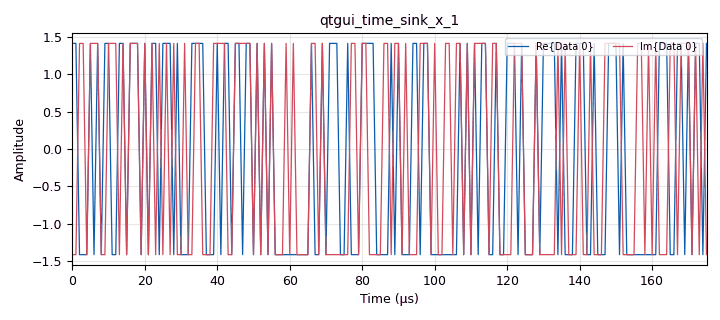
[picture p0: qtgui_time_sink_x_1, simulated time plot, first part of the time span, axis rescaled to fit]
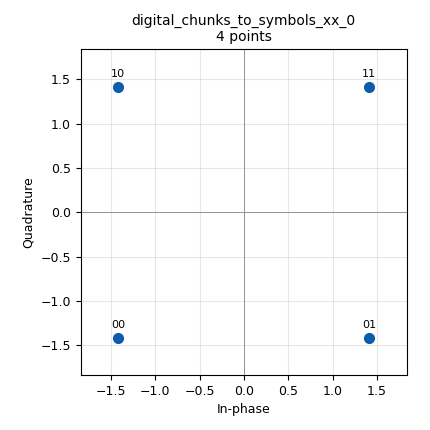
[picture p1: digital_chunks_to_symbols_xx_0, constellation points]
options:
  parameters:
    generate_options: qt_gui
    id: ofdmatest0
    output_language: python
    title: Not titled yet
  states: {}

blocks:
- name: fft_len
  id: variable
  parameters:
    value: '64'
  states: {}
- name: packet_len
  id: variable
  parameters:
    value: '50'
  states: {}
- name: payload_mod
  id: variable
  parameters:
    value: digital.constellation_qpsk()
  states: {}
- name: samp_rate
  id: variable
  parameters:
    value: '1000000'
  states: {}
- name: sc
  id: variable_qtgui_range
  parameters:
    rangeType: int
    start: '0'
    step: '1'
    stop: '8'
    value: '0'
  states: {}
- name: sync_word1
  id: variable
  parameters:
    value: '[0., 0., 0., 0., 0., 0., 0., 1.41421356, 0., -1.41421356, 0., 1.41421356, 0., -1.41421356, 0., -1.41421356, 0., -1.41421356, 0., 1.41421356, 0., -1.41421356, 0., 1.41421356, 0., -1.41421356, 0., -1.41421356, 0., -1.41421356, 0., -1.41421356, 0., 1.41421356, 0., -1.41421356, 0., 1.41421356, 0., 1.41421356, 0., 1.41421356, 0., -1.41421356, 0., 1.41421356, 0., 1.41421356, 0., 1.41421356, 0., -1.41421356, 0., 1.41421356, 0., 1.41421356, 0., 1.41421356, 0., 0., 0., 0., 0., 0.]'
  states: {}
- name: sync_word2
  id: variable
  parameters:
    value: '[0, 0, 0, 0, 0, 0, -1, -1, -1, -1, 1, 1, -1, -1, -1, 1, -1, 1, 1, 1, 1, 1, -1, -1, -1, -1, -1, 1, -1, -1, 1, -1, 0, 1, -1, 1, 1, 1, -1, 1, 1, 1, -1, 1, 1, 1, 1, -1, 1, -1, -1, -1, 1, -1, 1, -1, -1, -1, -1, 0, 0, 0, 0, 0] '
  states: {}
- name: analog_random_source_x_0
  id: analog_random_source_x
  parameters:
    max: '255'
    min: '0'
    num_samps: '1000'
    repeat: 'True'
    type: byte
  states: {}
- name: blocks_repack_bits_bb_0
  id: blocks_repack_bits_bb
  parameters:
    endianness: gr.GR_LSB_FIRST
    k: '8'
    l: '2'
    len_tag_key: '"packet_len"'
  states: {}
- name: blocks_stream_to_tagged_stream_0
  id: blocks_stream_to_tagged_stream
  parameters:
    len_tag_key: '"packet_len"'
    packet_len: packet_len
    type: byte
  states: {}
- name: blocks_throttle_0
  id: blocks_throttle
  parameters:
    samples_per_second: samp_rate
    type: byte
  states: {}
- name: digital_chunks_to_symbols_xx_0
  id: digital_chunks_to_symbols_xx
  parameters:
    dimension: '1'
    in_type: byte
    out_type: complex
    symbol_table: payload_mod.points()
  states: {}
- name: digital_ofdm_cyclic_prefixer_0
  id: digital_ofdm_cyclic_prefixer
  parameters:
    cp_len: fft_len//4
    input_size: fft_len
    tagname: '"packet_len"'
  states: {}
- name: epy_block_0
  id: epy_block
  parameters:
    _source_code: |
      import numpy as np
      from gnuradio import gr
      import pmt

      class blk(gr.sync_block):  # other base classes are basic_block, decim_block, interp_block

          def __init__(self, key = "sc_tag_key", pattern = 0, packet_key = "packet_len"):  # only default arguments here
              gr.sync_block.__init__(
                  self,
                  name='OFDMA Controller Block',   # will show up in GRC
                  in_sig=[np.int8],
                  out_sig=[np.int8]
              )

              self.key = key;
              self.pattern = pattern;
              self.packet_key = packet_key;

          def work(self, input_items, output_items):
              pkey = pmt.intern(self.key)
              ppattern = pmt.to_pmt(self.pattern)
              ppacket = pmt.to_pmt(self.packet_key)
              for i, sample in enumerate(input_items[0]):
                  t = self.nitems_written(0) + i
                  #this seems like a "hacky" way of doing this, but it works and I can't find any other way
                  tags = self.get_tags_in_range(0, t, t+1,ppacket)
                  if (len(tags) != 0):
                      self.add_item_tag(0, self.nitems_written(0)+i, pkey, ppattern)
              output_items[0][:] = input_items[0]
              return len(output_items[0])
    key: '''sc_tag_key'''
    packet_key: '''packet_len'''
    pattern: sc
  states: {}
- name: fft_vxx_0
  id: fft_vxx
  parameters:
    fft_size: fft_len
    forward: 'False'
    shift: 'True'
    type: complex
    window: '[]'
  states: {}
- name: qtgui_freq_sink_x_0
  id: qtgui_freq_sink_x
  parameters:
    bw: samp_rate
    fc: '0'
    fftsize: '1024'
    type: complex
  states: {}
- name: qtgui_time_sink_x_1
  id: qtgui_time_sink_x
  parameters:
    size: '1024'
    srate: samp_rate
    type: complex
  states: {}
- name: sonny_ofdma_ofdma_tx_0
  id: sonny_ofdma_ofdma_tx
  parameters:
    fft_len: fft_len
    len_tag_key: '"packet_len"'
    occupied_carriers: (list(range(-63, -48)), list(range(-47, -32)), list(range(-31, -22)) + list(range(-20, -15)), list(range(-14, -8)) + list(range(-6, -1)) + list(range(1,3)), list(range(4, 6)) + list(range(8,20)), list(range(22,37)), list(range(38,53)), list(range(54, 62)) + list(range(-63, -59)),)
    output_is_shifted: 'True'
    pilot_carriers: ((-21, -7, 7, 21,), (-21, -7, 7, 21,), (-21, -7, 7, 21,), (-21, -7, 7, 21,), (-21, -7, 7, 21,), (-21, -7, 7, 21,), (-21, -7, 7, 21,), (-21, -7, 7, 21,),)
    pilot_symbols: ((1, 1, 1, -1,), (1, 1, 1, -1,), (1, 1, 1, -1,), (1, 1, 1, -1,), (1, 1, 1, -1,), (1, 1, 1, -1,), (1, 1, 1, -1,), (1, 1, 1, -1,),)
    sc_tag_key: '"sc_tag_key"'
    sync_words: (sync_word1, sync_word2)
  states: {}

connections:
- [analog_random_source_x_0, '0', blocks_throttle_0, '0']
- [blocks_repack_bits_bb_0, '0', epy_block_0, '0']
- [blocks_stream_to_tagged_stream_0, '0', blocks_repack_bits_bb_0, '0']
- [blocks_throttle_0, '0', blocks_stream_to_tagged_stream_0, '0']
- [digital_chunks_to_symbols_xx_0, '0', qtgui_time_sink_x_1, '0']
- [digital_chunks_to_symbols_xx_0, '0', sonny_ofdma_ofdma_tx_0, '0']
- [digital_ofdm_cyclic_prefixer_0, '0', qtgui_freq_sink_x_0, '0']
- [epy_block_0, '0', digital_chunks_to_symbols_xx_0, '0']
- [fft_vxx_0, '0', digital_ofdm_cyclic_prefixer_0, '0']
- [sonny_ofdma_ofdma_tx_0, '0', fft_vxx_0, '0']

metadata:
  file_format: 1
